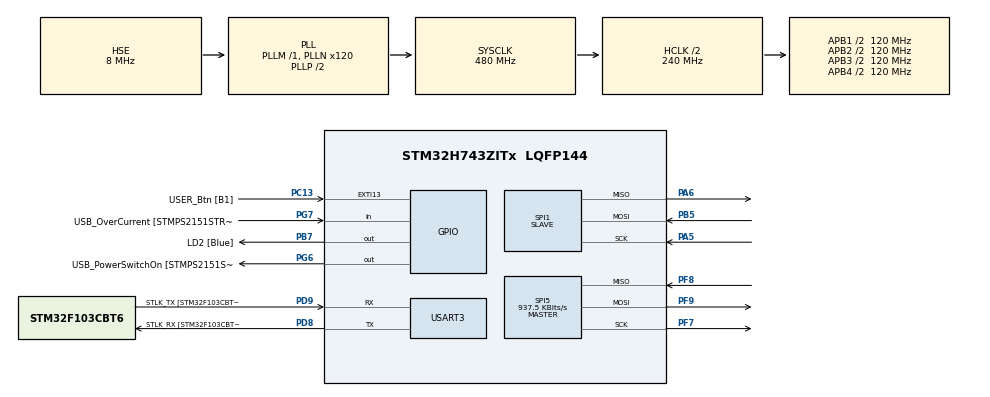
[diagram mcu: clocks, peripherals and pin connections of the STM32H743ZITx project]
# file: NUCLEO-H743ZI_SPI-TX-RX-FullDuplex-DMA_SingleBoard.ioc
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Dma.Request0=SPI5_RX
Dma.Request1=SPI1_TX
Dma.Request2=SPI5_TX
Dma.Request3=SPI1_RX
Dma.SPI1_RX.3.Direction=DMA_PERIPH_TO_MEMORY
Dma.SPI1_RX.3.EventEnable=DISABLE
Dma.SPI1_RX.3.FIFOMode=DMA_FIFOMODE_DISABLE
Dma.SPI1_RX.3.Instance=DMA1_Stream2
Dma.SPI1_RX.3.MemDataAlignment=DMA_MDATAALIGN_BYTE
Dma.SPI1_RX.3.MemInc=DMA_MINC_ENABLE
Dma.SPI1_RX.3.Mode=DMA_NORMAL
Dma.SPI1_RX.3.PeriphDataAlignment=DMA_PDATAALIGN_BYTE
Dma.SPI1_RX.3.PeriphInc=DMA_PINC_DISABLE
Dma.SPI1_RX.3.Polarity=HAL_DMAMUX_REQ_GEN_RISING
Dma.SPI1_RX.3.Priority=DMA_PRIORITY_LOW
Dma.SPI1_RX.3.RequestNumber=1
Dma.SPI1_RX.3.SignalID=NONE
Dma.SPI1_RX.3.SyncEnable=DISABLE
Dma.SPI1_RX.3.SyncPolarity=HAL_DMAMUX_SYNC_NO_EVENT
Dma.SPI1_RX.3.SyncRequestNumber=1
Dma.SPI1_RX.3.SyncSignalID=NONE
Dma.SPI1_TX.1.Direction=DMA_MEMORY_TO_PERIPH
Dma.SPI1_TX.1.EventEnable=DISABLE
Dma.SPI1_TX.1.FIFOMode=DMA_FIFOMODE_DISABLE
Dma.SPI1_TX.1.Instance=DMA2_Stream0
Dma.SPI1_TX.1.MemDataAlignment=DMA_MDATAALIGN_BYTE
Dma.SPI1_TX.1.MemInc=DMA_MINC_ENABLE
Dma.SPI1_TX.1.Mode=DMA_NORMAL
Dma.SPI1_TX.1.PeriphDataAlignment=DMA_PDATAALIGN_BYTE
Dma.SPI1_TX.1.PeriphInc=DMA_PINC_DISABLE
Dma.SPI1_TX.1.Polarity=HAL_DMAMUX_REQ_GEN_RISING
Dma.SPI1_TX.1.Priority=DMA_PRIORITY_MEDIUM
Dma.SPI1_TX.1.RequestNumber=1
Dma.SPI1_TX.1.SignalID=NONE
Dma.SPI1_TX.1.SyncEnable=DISABLE
Dma.SPI1_TX.1.SyncPolarity=HAL_DMAMUX_SYNC_NO_EVENT
Dma.SPI1_TX.1.SyncRequestNumber=1
Dma.SPI1_TX.1.SyncSignalID=NONE
Dma.SPI5_RX.0.Direction=DMA_PERIPH_TO_MEMORY
Dma.SPI5_RX.0.EventEnable=DISABLE
Dma.SPI5_RX.0.FIFOMode=DMA_FIFOMODE_DISABLE
Dma.SPI5_RX.0.Instance=DMA1_Stream0
Dma.SPI5_RX.0.MemDataAlignment=DMA_MDATAALIGN_BYTE
Dma.SPI5_RX.0.MemInc=DMA_MINC_ENABLE
Dma.SPI5_RX.0.Mode=DMA_NORMAL
Dma.SPI5_RX.0.PeriphDataAlignment=DMA_PDATAALIGN_BYTE
Dma.SPI5_RX.0.PeriphInc=DMA_PINC_DISABLE
Dma.SPI5_RX.0.Polarity=HAL_DMAMUX_REQ_GEN_RISING
Dma.SPI5_RX.0.Priority=DMA_PRIORITY_MEDIUM
Dma.SPI5_RX.0.RequestNumber=1
Dma.SPI5_RX.0.SignalID=NONE
Dma.SPI5_RX.0.SyncEnable=DISABLE
Dma.SPI5_RX.0.SyncPolarity=HAL_DMAMUX_SYNC_NO_EVENT
Dma.SPI5_RX.0.SyncRequestNumber=1
Dma.SPI5_RX.0.SyncSignalID=NONE
Dma.SPI5_TX.2.Direction=DMA_MEMORY_TO_PERIPH
Dma.SPI5_TX.2.EventEnable=DISABLE
Dma.SPI5_TX.2.FIFOMode=DMA_FIFOMODE_DISABLE
Dma.SPI5_TX.2.Instance=DMA1_Stream1
Dma.SPI5_TX.2.MemDataAlignment=DMA_MDATAALIGN_BYTE
Dma.SPI5_TX.2.MemInc=DMA_MINC_ENABLE
Dma.SPI5_TX.2.Mode=DMA_NORMAL
Dma.SPI5_TX.2.PeriphDataAlignment=DMA_PDATAALIGN_BYTE
Dma.SPI5_TX.2.PeriphInc=DMA_PINC_DISABLE
Dma.SPI5_TX.2.Polarity=HAL_DMAMUX_REQ_GEN_RISING
Dma.SPI5_TX.2.Priority=DMA_PRIORITY_LOW
Dma.SPI5_TX.2.RequestNumber=1
Dma.SPI5_TX.2.SignalID=NONE
Dma.SPI5_TX.2.SyncEnable=DISABLE
Dma.SPI5_TX.2.SyncPolarity=HAL_DMAMUX_SYNC_NO_EVENT
Dma.SPI5_TX.2.SyncRequestNumber=1
Dma.SPI5_TX.2.SyncSignalID=NONE
Mcu.Family=STM32H7
Mcu.Name=STM32H743ZITx
Mcu.Package=LQFP144
NVIC.DMA1_Stream0_IRQn=true\:0\:0\:false\:false\:true\:false\:true
NVIC.DMA1_Stream1_IRQn=true\:0\:0\:false\:false\:true\:false\:true
NVIC.DMA1_Stream2_IRQn=true\:0\:0\:false\:false\:true\:false\:true
NVIC.DMA2_Stream0_IRQn=true\:0\:0\:false\:false\:true\:false\:true
NVIC.PriorityGroup=NVIC_PRIORITYGROUP_4
NVIC.SPI1_IRQn=true\:0\:0\:false\:false\:true\:false\:true
NVIC.SPI5_IRQn=true\:0\:0\:false\:false\:true\:false\:true
PA1.GPIO_Label=RMII_REF_CLK
PA1.Signal=ETH_REF_CLK
PA10.GPIO_Label=USB_ID
PA10.Signal=USB_OTG_FS_ID
PA11.GPIO_Label=USB_DM
PA11.Signal=USB_OTG_FS_DM
PA12.GPIO_Label=USB_DP
PA12.Signal=USB_OTG_FS_DP
PA13\ (JTMS/SWDIO).Mode=Trace_Asynchronous_SW
PA13\ (JTMS/SWDIO).Signal=DEBUG_JTMS-SWDIO
PA14\ (JTCK/SWCLK).Mode=Trace_Asynchronous_SW
PA14\ (JTCK/SWCLK).Signal=DEBUG_JTCK-SWCLK
PA2.GPIO_Label=RMII_MDIO
PA2.Signal=ETH_MDIO
PA5.Mode=Full_Duplex_Slave
PA5.Signal=SPI1_SCK
PA6.Mode=Full_Duplex_Slave
PA6.Signal=SPI1_MISO
PA7.GPIO_Label=RMII_CRS_DV
PA7.Signal=ETH_CRS_DV
PA8.GPIO_Label=USB_SOF [TP1]
PA8.Signal=USB_OTG_FS_SOF
PA9.GPIO_Label=USB_VBUS
PA9.Signal=USB_OTG_FS_VBUS
PB3\ (JTDO/TRACESWO).Mode=Trace_Asynchronous_SW
PB3\ (JTDO/TRACESWO).Signal=DEBUG_JTDO-SWO
PB5.Mode=Full_Duplex_Slave
PB5.Signal=SPI1_MOSI
PB7.GPIO_Label=LD2 [Blue]
PB7.Signal=GPIO_Output
PC1.GPIO_Label=RMII_MDC
PC1.Signal=ETH_MDC
PC13.GPIO_Label=USER_Btn [B1]
PC13.Signal=GPXTI13
PC14-OSC32_IN\ (OSC32_IN).Mode=LSE-External-Oscillator
PC14-OSC32_IN\ (OSC32_IN).Signal=RCC_OSC32_IN
PC15-OSC32_OUT\ (OSC32_OUT).Mode=LSE-External-Oscillator
PC15-OSC32_OUT\ (OSC32_OUT).Signal=RCC_OSC32_OUT
PC2_C.Signal=SPI2_MISO
PC4.GPIO_Label=RMII_RXD0
PC4.Signal=ETH_RXD0
PC5.GPIO_Label=RMII_RXD1
PC5.Signal=ETH_RXD1
PD3.Signal=SPI2_SCK
PD8.GPIO_Label=STLK_RX [STM32F103CBT6_PA3]
PD8.Mode=Asynchronous
PD8.Signal=USART3_TX
PD9.GPIO_Label=STLK_TX [STM32F103CBT6_PA2]
PD9.Mode=Asynchronous
PD9.Signal=USART3_RX
PF7.Mode=Full_Duplex_Master
PF7.Signal=SPI5_SCK
PF8.Mode=Full_Duplex_Master
PF8.Signal=SPI5_MISO
PF9.Mode=Full_Duplex_Master
PF9.Signal=SPI5_MOSI
PG11.GPIO_Label=RMII_TX_EN
PG11.Signal=ETH_TX_EN
PG13.GPIO_Label=RMII_TXD0
PG13.Signal=ETH_TXD0
PG6.GPIO_Label=USB_PowerSwitchOn [STMPS2151STR_EN]
PG6.Signal=GPIO_Output
PG7.GPIO_Label=USB_OverCurrent [STMPS2151STR_FAULT]
PG7.Signal=GPIO_Input
PH0-OSC_IN\ (PH0).GPIO_Label=MCO
PH0-OSC_IN\ (PH0).Mode=HSE-External-Clock-Source
PH0-OSC_IN\ (PH0).Signal=RCC_OSC_IN
PH1-OSC_OUT\ (PH1).Signal=RCC_OSC_OUT
ProjectManager.HeapSize=0x200
ProjectManager.StackSize=0x400
ProjectManager.TargetToolchain=STM32CubeIDE
RCC.48MHZClocksFreq_Value=24000000
RCC.ADCFreq_Value=16125000
RCC.AHBFreq_Value=216000000
RCC.APB1CLKDivider=RCC_HCLK_DIV4
RCC.APB1Freq_Value=120000000
RCC.APB1TimFreq_Value=108000000
RCC.APB2CLKDivider=RCC_HCLK_DIV2
RCC.APB2Freq_Value=120000000
RCC.APB2TimFreq_Value=216000000
RCC.APB3Freq_Value=120000000
RCC.APB4Freq_Value=120000000
RCC.CortexFreq_Value=480000000
RCC.D1PPRE=RCC_APB3_DIV2
RCC.D2PPRE1=RCC_APB1_DIV2
RCC.D2PPRE2=RCC_APB2_DIV2
RCC.D3PPRE=RCC_APB4_DIV2
RCC.DIVM1=1
RCC.DIVM3=1
RCC.DIVN1=120
RCC.DIVN3=18
RCC.DIVP3=1
RCC.DIVQ1=4
RCC.HCLKFreq_Value=240000000
RCC.HPRE=RCC_HCLK_DIV2
RCC.HSE_VALUE=8000000
RCC.HSI_VALUE=64000000
RCC.PLL3FRACN=6144
RCC.PLLM=25
RCC.PLLMUL=RCC_PLL_MUL9
RCC.PLLN=432
RCC.PLLQ=9
RCC.PLLSourceVirtual=RCC_PLLSOURCE_HSE
RCC.PRESCALERUSB=RCC_USBCLKSOURCE_PLL_DIV1_5
RCC.PWR_Regulator_Voltage_Scale=PWR_REGULATOR_VOLTAGE_SCALE0
RCC.SPI123CLockSelection=RCC_SPI123CLKSOURCE_PLL3
RCC.SYSCLKFreq_VALUE=480000000
RCC.SYSCLKSource=RCC_SYSCLKSOURCE_PLLCLK
RCC.SYSCLKSourceVirtual=RCC_SYSCLKSOURCE_PLLCLK
RCC.USBFreq_Value=240000000
RCC.VCOOutputFreq_Value=432000000
SPI1.DataSize=SPI_DATASIZE_8BIT
SPI1.Direction=SPI_DIRECTION_2LINES
SPI1.Mode=SPI_MODE_SLAVE
SPI1.VirtualType=VM_SLAVE
SPI5.BaudRatePrescaler=SPI_BAUDRATEPRESCALER_128
SPI5.CalculateBaudRate=937.5 KBits/s
SPI5.DataSize=SPI_DATASIZE_8BIT
SPI5.Direction=SPI_DIRECTION_2LINES
SPI5.MasterKeepIOState=SPI_MASTER_KEEP_IO_STATE_ENABLE
SPI5.Mode=SPI_MODE_MASTER
SPI5.NSSPMode=SPI_NSS_PULSE_DISABLE
SPI5.VirtualType=VM_MASTER
USART3.VirtualMode-Asynchronous=VM_ASYNC
board=NUCLEO-H743ZI

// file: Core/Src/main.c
/* USER CODE BEGIN Header */
/**
  ******************************************************************************
  * @file           : main.c
  * @brief          : Main program body
  ******************************************************************************
  * @attention
  *
  * <h2><center>&copy; Copyright (c) 2021 STMicroelectronics.
  * All rights reserved.</center></h2>
  *
  * This software component is licensed by ST under BSD 3-Clause license,
  * the "License"; You may not use this file except in compliance with the
  * License. You may obtain a copy of the License at:
  *                        opensource.org/licenses/BSD-3-Clause
  *
  ******************************************************************************
  */
/* USER CODE END Header */
#include "main.h"

/* USER CODE BEGIN Includes */

#include <stdio.h>

/* USER CODE END Includes */

SPI_HandleTypeDef hspi1;
SPI_HandleTypeDef hspi5;
DMA_HandleTypeDef hdma_spi1_tx;
DMA_HandleTypeDef hdma_spi1_rx;
DMA_HandleTypeDef hdma_spi5_rx;
DMA_HandleTypeDef hdma_spi5_tx;

UART_HandleTypeDef huart3;

/* USER CODE BEGIN PV */

uint8_t send_data1[30] = "SPI buffer test";
uint8_t receive_data1[30];

uint8_t send_data5[30] = "SPI buffer test";
uint8_t receive_data5[30];

/* USER CODE END PV */

void SystemClock_Config(void);
static void MX_GPIO_Init(void);
static void MX_USART3_UART_Init(void);
static void MX_DMA_Init(void);
static void MX_SPI5_Init(void);
static void MX_SPI1_Init(void);
/* USER CODE BEGIN PFP */

#define PUTCHAR_PROTOTYPE int __io_putchar(int ch)

/* USER CODE END PFP */

int main(void)
{

  /* MCU Configuration--------------------------------------------------------*/

  /* Reset of all peripherals, Initializes the Flash interface and the Systick. */
  HAL_Init();

  /* Configure the system clock */
  SystemClock_Config();

  /* Initialize all configured peripherals */
  MX_GPIO_Init();
  MX_USART3_UART_Init();
  MX_DMA_Init();
  MX_SPI5_Init();
  MX_SPI1_Init();
  /* USER CODE BEGIN 2 */

  printf("Starting >> NUCLEO-H743ZI_SPI-TX-RX-FullDuplex-DMA_SingleBoard \n");

  for(uint16_t cntr = 0; cntr < 30; cntr++)
	  send_data1[cntr] = cntr;

  for(uint16_t cntr = 0; cntr < 30; cntr++)
	  send_data5[cntr] = cntr + 50;

  HAL_SPI_TransmitReceive_DMA(&hspi1, send_data1, receive_data1, 30);

//  HAL_SPI_Receive_DMA(&hspi5, receive_data, 30);

  HAL_SPI_TransmitReceive_DMA(&hspi5, send_data5, receive_data5, 30);

  HAL_Delay(50);

  printf("Ending >> NUCLEO-H743ZI_SPI-TX-RX-FullDuplex-DMA_SingleBoard \n");

  /* USER CODE END 2 */

  /* Infinite loop */
  while (1)
  {

  }
}

void SystemClock_Config(void)
{
  RCC_OscInitTypeDef RCC_OscInitStruct = {0};
  RCC_ClkInitTypeDef RCC_ClkInitStruct = {0};

  /** Supply configuration update enable
  */
  HAL_PWREx_ConfigSupply(PWR_LDO_SUPPLY);
  /** Configure the main internal regulator output voltage
  */
  __HAL_PWR_VOLTAGESCALING_CONFIG(PWR_REGULATOR_VOLTAGE_SCALE0);

  while(!__HAL_PWR_GET_FLAG(PWR_FLAG_VOSRDY)) {}
  /** Macro to configure the PLL clock source
  */
  __HAL_RCC_PLL_PLLSOURCE_CONFIG(RCC_PLLSOURCE_HSE);
  /** Initializes the RCC Oscillators according to the specified parameters
  * in the RCC_OscInitTypeDef structure.
  */
  RCC_OscInitStruct.OscillatorType = RCC_OSCILLATORTYPE_HSE;
  RCC_OscInitStruct.HSEState = RCC_HSE_BYPASS;
  RCC_OscInitStruct.PLL.PLLState = RCC_PLL_ON;
  RCC_OscInitStruct.PLL.PLLSource = RCC_PLLSOURCE_HSE;
  RCC_OscInitStruct.PLL.PLLM = 1;
  RCC_OscInitStruct.PLL.PLLN = 120;
  RCC_OscInitStruct.PLL.PLLP = 2;
  RCC_OscInitStruct.PLL.PLLQ = 4;
  RCC_OscInitStruct.PLL.PLLR = 2;
  RCC_OscInitStruct.PLL.PLLRGE = RCC_PLL1VCIRANGE_3;
  RCC_OscInitStruct.PLL.PLLVCOSEL = RCC_PLL1VCOWIDE;
  RCC_OscInitStruct.PLL.PLLFRACN = 0;
  if (HAL_RCC_OscConfig(&RCC_OscInitStruct) != HAL_OK)
  {
    Error_Handler();
  }
  /** Initializes the CPU, AHB and APB buses clocks
  */
  RCC_ClkInitStruct.ClockType = RCC_CLOCKTYPE_HCLK|RCC_CLOCKTYPE_SYSCLK
                              |RCC_CLOCKTYPE_PCLK1|RCC_CLOCKTYPE_PCLK2
                              |RCC_CLOCKTYPE_D3PCLK1|RCC_CLOCKTYPE_D1PCLK1;
  RCC_ClkInitStruct.SYSCLKSource = RCC_SYSCLKSOURCE_PLLCLK;
  RCC_ClkInitStruct.SYSCLKDivider = RCC_SYSCLK_DIV1;
  RCC_ClkInitStruct.AHBCLKDivider = RCC_HCLK_DIV2;
  RCC_ClkInitStruct.APB3CLKDivider = RCC_APB3_DIV2;
  RCC_ClkInitStruct.APB1CLKDivider = RCC_APB1_DIV2;
  RCC_ClkInitStruct.APB2CLKDivider = RCC_APB2_DIV2;
  RCC_ClkInitStruct.APB4CLKDivider = RCC_APB4_DIV2;

  if (HAL_RCC_ClockConfig(&RCC_ClkInitStruct, FLASH_LATENCY_4) != HAL_OK)
  {
    Error_Handler();
  }
}

static void MX_SPI1_Init(void)
{

  /* SPI1 parameter configuration*/
  hspi1.Instance = SPI1;
  hspi1.Init.Mode = SPI_MODE_SLAVE;
  hspi1.Init.Direction = SPI_DIRECTION_2LINES;
  hspi1.Init.DataSize = SPI_DATASIZE_8BIT;
  hspi1.Init.CLKPolarity = SPI_POLARITY_LOW;
  hspi1.Init.CLKPhase = SPI_PHASE_1EDGE;
  hspi1.Init.NSS = SPI_NSS_SOFT;
  hspi1.Init.FirstBit = SPI_FIRSTBIT_MSB;
  hspi1.Init.TIMode = SPI_TIMODE_DISABLE;
  hspi1.Init.CRCCalculation = SPI_CRCCALCULATION_DISABLE;
  hspi1.Init.CRCPolynomial = 0x0;
  hspi1.Init.NSSPMode = SPI_NSS_PULSE_DISABLE;
  hspi1.Init.NSSPolarity = SPI_NSS_POLARITY_LOW;
  hspi1.Init.FifoThreshold = SPI_FIFO_THRESHOLD_01DATA;
  hspi1.Init.TxCRCInitializationPattern = SPI_CRC_INITIALIZATION_ALL_ZERO_PATTERN;
  hspi1.Init.RxCRCInitializationPattern = SPI_CRC_INITIALIZATION_ALL_ZERO_PATTERN;
  hspi1.Init.MasterSSIdleness = SPI_MASTER_SS_IDLENESS_00CYCLE;
  hspi1.Init.MasterInterDataIdleness = SPI_MASTER_INTERDATA_IDLENESS_00CYCLE;
  hspi1.Init.MasterReceiverAutoSusp = SPI_MASTER_RX_AUTOSUSP_DISABLE;
  hspi1.Init.MasterKeepIOState = SPI_MASTER_KEEP_IO_STATE_DISABLE;
  hspi1.Init.IOSwap = SPI_IO_SWAP_DISABLE;
  if (HAL_SPI_Init(&hspi1) != HAL_OK)
  {
    Error_Handler();
  }

}

static void MX_SPI5_Init(void)
{

  /* SPI5 parameter configuration*/
  hspi5.Instance = SPI5;
  hspi5.Init.Mode = SPI_MODE_MASTER;
  hspi5.Init.Direction = SPI_DIRECTION_2LINES;
  hspi5.Init.DataSize = SPI_DATASIZE_8BIT;
  hspi5.Init.CLKPolarity = SPI_POLARITY_LOW;
  hspi5.Init.CLKPhase = SPI_PHASE_1EDGE;
  hspi5.Init.NSS = SPI_NSS_SOFT;
  hspi5.Init.BaudRatePrescaler = SPI_BAUDRATEPRESCALER_128;
  hspi5.Init.FirstBit = SPI_FIRSTBIT_MSB;
  hspi5.Init.TIMode = SPI_TIMODE_DISABLE;
  hspi5.Init.CRCCalculation = SPI_CRCCALCULATION_DISABLE;
  hspi5.Init.CRCPolynomial = 0x0;
  hspi5.Init.NSSPMode = SPI_NSS_PULSE_DISABLE;
  hspi5.Init.NSSPolarity = SPI_NSS_POLARITY_LOW;
  hspi5.Init.FifoThreshold = SPI_FIFO_THRESHOLD_01DATA;
  hspi5.Init.TxCRCInitializationPattern = SPI_CRC_INITIALIZATION_ALL_ZERO_PATTERN;
  hspi5.Init.RxCRCInitializationPattern = SPI_CRC_INITIALIZATION_ALL_ZERO_PATTERN;
  hspi5.Init.MasterSSIdleness = SPI_MASTER_SS_IDLENESS_00CYCLE;
  hspi5.Init.MasterInterDataIdleness = SPI_MASTER_INTERDATA_IDLENESS_00CYCLE;
  hspi5.Init.MasterReceiverAutoSusp = SPI_MASTER_RX_AUTOSUSP_DISABLE;
  hspi5.Init.MasterKeepIOState = SPI_MASTER_KEEP_IO_STATE_ENABLE;
  hspi5.Init.IOSwap = SPI_IO_SWAP_DISABLE;
  if (HAL_SPI_Init(&hspi5) != HAL_OK)
  {
    Error_Handler();
  }

}

static void MX_USART3_UART_Init(void)
{

  huart3.Instance = USART3;
  huart3.Init.BaudRate = 115200;
  huart3.Init.WordLength = UART_WORDLENGTH_8B;
  huart3.Init.StopBits = UART_STOPBITS_1;
  huart3.Init.Parity = UART_PARITY_NONE;
  huart3.Init.Mode = UART_MODE_TX_RX;
  huart3.Init.HwFlowCtl = UART_HWCONTROL_NONE;
  huart3.Init.OverSampling = UART_OVERSAMPLING_16;
  huart3.Init.OneBitSampling = UART_ONE_BIT_SAMPLE_DISABLE;
  huart3.Init.ClockPrescaler = UART_PRESCALER_DIV1;
  huart3.AdvancedInit.AdvFeatureInit = UART_ADVFEATURE_NO_INIT;
  if (HAL_UART_Init(&huart3) != HAL_OK)
  {
    Error_Handler();
  }
  if (HAL_UARTEx_SetTxFifoThreshold(&huart3, UART_TXFIFO_THRESHOLD_1_8) != HAL_OK)
  {
    Error_Handler();
  }
  if (HAL_UARTEx_SetRxFifoThreshold(&huart3, UART_RXFIFO_THRESHOLD_1_8) != HAL_OK)
  {
    Error_Handler();
  }
  if (HAL_UARTEx_DisableFifoMode(&huart3) != HAL_OK)
  {
    Error_Handler();
  }

}

static void MX_DMA_Init(void)
{

  /* DMA controller clock enable */
  __HAL_RCC_DMA1_CLK_ENABLE();
  __HAL_RCC_DMA2_CLK_ENABLE();

  /* DMA interrupt init */
  /* DMA1_Stream0_IRQn interrupt configuration */
  HAL_NVIC_SetPriority(DMA1_Stream0_IRQn, 0, 0);
  HAL_NVIC_EnableIRQ(DMA1_Stream0_IRQn);
  /* DMA1_Stream1_IRQn interrupt configuration */
  HAL_NVIC_SetPriority(DMA1_Stream1_IRQn, 0, 0);
  HAL_NVIC_EnableIRQ(DMA1_Stream1_IRQn);
  /* DMA1_Stream2_IRQn interrupt configuration */
  HAL_NVIC_SetPriority(DMA1_Stream2_IRQn, 0, 0);
  HAL_NVIC_EnableIRQ(DMA1_Stream2_IRQn);
  /* DMA2_Stream0_IRQn interrupt configuration */
  HAL_NVIC_SetPriority(DMA2_Stream0_IRQn, 0, 0);
  HAL_NVIC_EnableIRQ(DMA2_Stream0_IRQn);

}

static void MX_GPIO_Init(void)
{
  GPIO_InitTypeDef GPIO_InitStruct = {0};

  /* GPIO Ports Clock Enable */
  __HAL_RCC_GPIOC_CLK_ENABLE();
  __HAL_RCC_GPIOF_CLK_ENABLE();
  __HAL_RCC_GPIOH_CLK_ENABLE();
  __HAL_RCC_GPIOA_CLK_ENABLE();
  __HAL_RCC_GPIOD_CLK_ENABLE();
  __HAL_RCC_GPIOG_CLK_ENABLE();
  __HAL_RCC_GPIOB_CLK_ENABLE();

  /*Configure GPIO pin Output Level */
  HAL_GPIO_WritePin(USB_PowerSwitchOn_GPIO_Port, USB_PowerSwitchOn_Pin, GPIO_PIN_RESET);

  /*Configure GPIO pin Output Level */
  HAL_GPIO_WritePin(LD2_GPIO_Port, LD2_Pin, GPIO_PIN_RESET);

  /*Configure GPIO pin : USER_Btn_Pin */
  GPIO_InitStruct.Pin = USER_Btn_Pin;
  GPIO_InitStruct.Mode = GPIO_MODE_IT_RISING;
  GPIO_InitStruct.Pull = GPIO_NOPULL;
  HAL_GPIO_Init(USER_Btn_GPIO_Port, &GPIO_InitStruct);

  /*Configure GPIO pins : RMII_MDC_Pin RMII_RXD0_Pin RMII_RXD1_Pin */
  GPIO_InitStruct.Pin = RMII_MDC_Pin|RMII_RXD0_Pin|RMII_RXD1_Pin;
  GPIO_InitStruct.Mode = GPIO_MODE_AF_PP;
  GPIO_InitStruct.Pull = GPIO_NOPULL;
  GPIO_InitStruct.Speed = GPIO_SPEED_FREQ_LOW;
  GPIO_InitStruct.Alternate = GPIO_AF11_ETH;
  HAL_GPIO_Init(GPIOC, &GPIO_InitStruct);

  /*Configure GPIO pin : PC2 */
  GPIO_InitStruct.Pin = GPIO_PIN_2;
  GPIO_InitStruct.Mode = GPIO_MODE_AF_PP;
  GPIO_InitStruct.Pull = GPIO_NOPULL;
  GPIO_InitStruct.Speed = GPIO_SPEED_FREQ_LOW;
  GPIO_InitStruct.Alternate = GPIO_AF5_SPI2;
  HAL_GPIO_Init(GPIOC, &GPIO_InitStruct);

  /*Configure GPIO pins : RMII_REF_CLK_Pin RMII_MDIO_Pin RMII_CRS_DV_Pin */
  GPIO_InitStruct.Pin = RMII_REF_CLK_Pin|RMII_MDIO_Pin|RMII_CRS_DV_Pin;
  GPIO_InitStruct.Mode = GPIO_MODE_AF_PP;
  GPIO_InitStruct.Pull = GPIO_NOPULL;
  GPIO_InitStruct.Speed = GPIO_SPEED_FREQ_LOW;
  GPIO_InitStruct.Alternate = GPIO_AF11_ETH;
  HAL_GPIO_Init(GPIOA, &GPIO_InitStruct);

  /*Configure GPIO pin : USB_PowerSwitchOn_Pin */
  GPIO_InitStruct.Pin = USB_PowerSwitchOn_Pin;
  GPIO_InitStruct.Mode = GPIO_MODE_OUTPUT_PP;
  GPIO_InitStruct.Pull = GPIO_NOPULL;
  GPIO_InitStruct.Speed = GPIO_SPEED_FREQ_LOW;
  HAL_GPIO_Init(USB_PowerSwitchOn_GPIO_Port, &GPIO_InitStruct);

  /*Configure GPIO pin : USB_OverCurrent_Pin */
  GPIO_InitStruct.Pin = USB_OverCurrent_Pin;
  GPIO_InitStruct.Mode = GPIO_MODE_INPUT;
  GPIO_InitStruct.Pull = GPIO_NOPULL;
  HAL_GPIO_Init(USB_OverCurrent_GPIO_Port, &GPIO_InitStruct);

  /*Configure GPIO pins : USB_SOF_Pin USB_ID_Pin USB_DM_Pin USB_DP_Pin */
  GPIO_InitStruct.Pin = USB_SOF_Pin|USB_ID_Pin|USB_DM_Pin|USB_DP_Pin;
  GPIO_InitStruct.Mode = GPIO_MODE_AF_PP;
  GPIO_InitStruct.Pull = GPIO_NOPULL;
  GPIO_InitStruct.Speed = GPIO_SPEED_FREQ_LOW;
  GPIO_InitStruct.Alternate = GPIO_AF10_OTG1_FS;
  HAL_GPIO_Init(GPIOA, &GPIO_InitStruct);

  /*Configure GPIO pin : PD3 */
  GPIO_InitStruct.Pin = GPIO_PIN_3;
  GPIO_InitStruct.Mode = GPIO_MODE_AF_PP;
  GPIO_InitStruct.Pull = GPIO_NOPULL;
  GPIO_InitStruct.Speed = GPIO_SPEED_FREQ_LOW;
  GPIO_InitStruct.Alternate = GPIO_AF5_SPI2;
  HAL_GPIO_Init(GPIOD, &GPIO_InitStruct);

  /*Configure GPIO pins : RMII_TX_EN_Pin RMII_TXD0_Pin */
  GPIO_InitStruct.Pin = RMII_TX_EN_Pin|RMII_TXD0_Pin;
  GPIO_InitStruct.Mode = GPIO_MODE_AF_PP;
  GPIO_InitStruct.Pull = GPIO_NOPULL;
  GPIO_InitStruct.Speed = GPIO_SPEED_FREQ_LOW;
  GPIO_InitStruct.Alternate = GPIO_AF11_ETH;
  HAL_GPIO_Init(GPIOG, &GPIO_InitStruct);

  /*Configure GPIO pin : LD2_Pin */
  GPIO_InitStruct.Pin = LD2_Pin;
  GPIO_InitStruct.Mode = GPIO_MODE_OUTPUT_PP;
  GPIO_InitStruct.Pull = GPIO_NOPULL;
  GPIO_InitStruct.Speed = GPIO_SPEED_FREQ_LOW;
  HAL_GPIO_Init(LD2_GPIO_Port, &GPIO_InitStruct);

}

/* USER CODE BEGIN 4 */

PUTCHAR_PROTOTYPE
{
  /* Place your implementation of fputc here */
  /* e.g. write a character to the LPUART1 and Loop until the end of transmission */
  HAL_UART_Transmit(&huart3, (uint8_t *)&ch, 1, 0xFFFF);

  return ch;
}

void HAL_SPI_RxCpltCallback(SPI_HandleTypeDef *hspi)
{
	UNUSED(hspi);
	printf("HAL_SPI_RxCpltCallback \n");
}

void HAL_SPI_ErrorCallback(SPI_HandleTypeDef *hspi)
{
	UNUSED(hspi);
	printf("HAL_SPI_ErrorCallback = %x \n", hspi->ErrorCode);
}

void HAL_SPI_TxCpltCallback(SPI_HandleTypeDef *hspi)
{
	UNUSED(hspi);
	printf("HAL_SPI_TxCpltCallback \n");
}

void HAL_SPI_TxRxCpltCallback(SPI_HandleTypeDef *hspi)
{
	UNUSED(hspi);
	printf("HAL_SPI_TxRxCpltCallback \n");
}

void HAL_SPI_TxRxHalfCpltCallback(SPI_HandleTypeDef *hspi)
{
	UNUSED(hspi);
	printf("HAL_SPI_TxRxHalfCpltCallback \n");
}

/* USER CODE END 4 */

void Error_Handler(void)
{
  /* USER CODE BEGIN Error_Handler_Debug */
  /* User can add his own implementation to report the HAL error return state */
	printf("Error_Handler \n");
  __disable_irq();
  while (1)
  {
  }
  /* USER CODE END Error_Handler_Debug */
}

/************************ (C) COPYRIGHT STMicroelectronics *****END OF FILE****/
